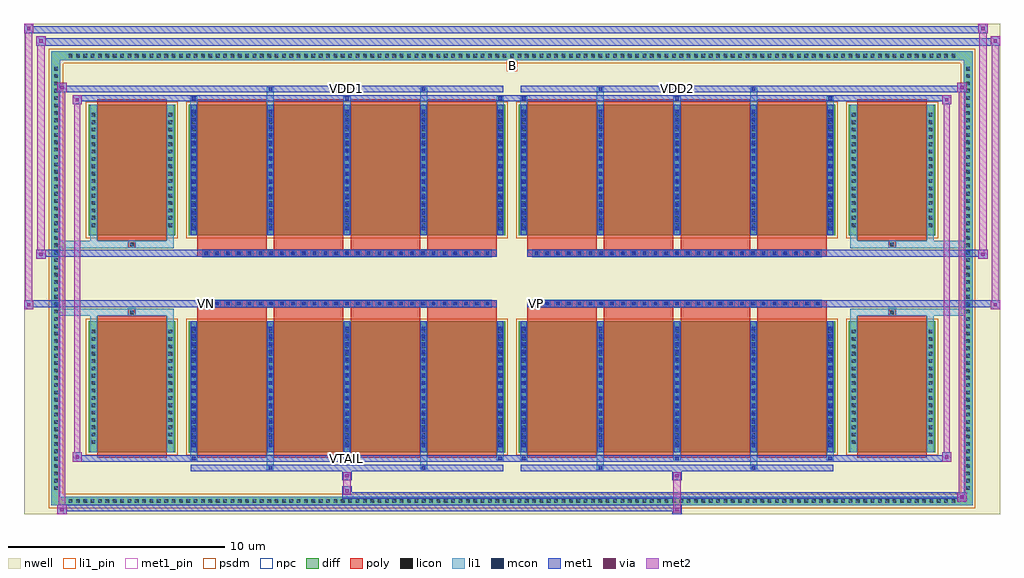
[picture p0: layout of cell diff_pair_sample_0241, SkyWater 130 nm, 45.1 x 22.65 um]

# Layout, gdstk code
import gdstk
lib = gdstk.Library(unit=1e-6, precision=5e-09)
def R(c, l, rs):  # rectangles x0, y0, x1, y1
    for r in rs: c.add(gdstk.rectangle(r[:2], r[2:], *l))
def A(c, l, x, y, w, h, nx, ny, dx, dy):  # array of equal rectangles
    R(c, l, [(x+i*dx, y+j*dy, x+i*dx+w, y+j*dy+h) for i in range(nx) for j in range(ny)])
def P(c, l, *ps):  # polygons
    for p in ps: c.add(gdstk.Polygon(p, *l))
nwell = (64, 20)
diff = (65, 20)
poly = (66, 20)
licon = (66, 44)
li1_pin = (67, 16)
li1 = (67, 20)
mcon = (67, 44)
met1_pin = (68, 16)
met1 = (68, 20)
via = (68, 44)
met2 = (69, 20)
psdm = (94, 20)
npc = (95, 20)

diff_pair_sample_0241 = lib.new_cell('diff_pair_sample_0241')
R(diff_pair_sample_0241, nwell, [(-22.55,-10.89,22.55,11.76), (-19.87,-9.08,-0.01,-0.8), (0.01,-9.08,19.87,-0.8), (-19.87,0.8,-0.01,9.08), (0.01,0.8,19.87,9.08)])
A(diff_pair_sample_0241, diff, -20.605, -10.49, 0.41, 0.41, 121, 2, 0.34, 20.57)
A(diff_pair_sample_0241, diff, -21.28, -9.895, 0.41, 0.41, 1, 58, 0, 0.34)
A(diff_pair_sample_0241, diff, 20.87, -9.895, 0.41, 0.41, 1, 58, 0, 0.34)
R(diff_pair_sample_0241, diff, [(-20.605,-10.49,20.605,-10.08), (-21.28,-9.895,-20.87,9.895), (20.87,-9.895,21.28,9.895), (-19.56,-8.035,-15.57,-1.985), (-14.93,-8.035,-0.32,-1.985), (0.32,-8.035,14.93,-1.985), (15.57,-8.035,19.56,-1.985), (-19.56,1.985,-15.57,8.035), (-14.93,1.985,-0.32,8.035), (0.32,1.985,14.93,8.035), (15.57,1.985,19.56,8.035), (-20.605,10.08,20.605,10.49)])
P(diff_pair_sample_0241, diff, [(21.28,10.49),(-21.28,10.49),(-21.28,-10.08),(-20.87,-10.08),(-20.87,10.08),(20.87,10.08),(20.87,-10.08),(-20.87,-10.08),(-21.28,-10.08),(-21.28,-10.49),(21.28,-10.49)])
A(diff_pair_sample_0241, poly, -14.54, -8.285, 3.21, 6.55, 4, 2, 3.54, 10.02)
A(diff_pair_sample_0241, poly, 0.71, -8.285, 3.21, 6.55, 4, 2, 3.54, 10.02)
A(diff_pair_sample_0241, poly, -14.54, -1.735, 3.21, 0.405, 4, 2, 3.54, 3.065)
A(diff_pair_sample_0241, poly, 0.71, -1.735, 3.21, 0.405, 4, 2, 3.54, 3.065)
A(diff_pair_sample_0241, poly, -14.29, -1.33, 0.33, 0.33, 27, 2, 0.5, 2.33)
A(diff_pair_sample_0241, poly, 0.96, -1.33, 0.33, 0.33, 27, 2, 0.5, 2.33)
R(diff_pair_sample_0241, poly, [(-19.17,-8.285,-15.96,-1.735), (15.96,-8.285,19.17,-1.735), (-17.73,-1.735,-17.4,-1.405), (-17.73,-1.735,-17.4,-1.405), (17.4,-1.735,17.73,-1.405), (17.4,-1.735,17.73,-1.405), (-14.54,-1.33,-0.71,-1), (0.71,-1.33,14.54,-1), (-14.54,1,-0.71,1.33), (0.71,1,14.54,1.33), (-17.73,1.405,-17.4,1.735), (-17.73,1.405,-17.4,1.735), (17.4,1.405,17.73,1.735), (17.4,1.405,17.73,1.735), (-19.17,1.735,-15.96,8.285), (15.96,1.735,19.17,8.285)])
A(diff_pair_sample_0241, licon, -20.485, -10.37, 0.17, 0.17, 121, 2, 0.34, 20.57)
A(diff_pair_sample_0241, licon, -21.16, -9.775, 0.17, 0.17, 1, 58, 0, 0.34)
A(diff_pair_sample_0241, licon, 20.99, -9.775, 0.17, 0.17, 1, 58, 0, 0.34)
A(diff_pair_sample_0241, licon, -19.42, -7.645, 0.17, 0.17, 1, 16, 0, 0.34)
A(diff_pair_sample_0241, licon, -15.88, -7.645, 0.17, 0.17, 1, 16, 0, 0.34)
A(diff_pair_sample_0241, licon, -14.79, -7.645, 0.17, 0.17, 5, 16, 3.54, 0.34)
A(diff_pair_sample_0241, licon, 0.46, -7.645, 0.17, 0.17, 5, 16, 3.54, 0.34)
A(diff_pair_sample_0241, licon, 15.71, -7.645, 0.17, 0.17, 1, 16, 0, 0.34)
A(diff_pair_sample_0241, licon, 19.25, -7.645, 0.17, 0.17, 1, 16, 0, 0.34)
A(diff_pair_sample_0241, licon, -14.21, -1.25, 0.17, 0.17, 27, 2, 0.5, 2.33)
A(diff_pair_sample_0241, licon, 1.04, -1.25, 0.17, 0.17, 27, 2, 0.5, 2.33)
A(diff_pair_sample_0241, licon, -19.42, 2.375, 0.17, 0.17, 1, 16, 0, 0.34)
A(diff_pair_sample_0241, licon, -15.88, 2.375, 0.17, 0.17, 1, 16, 0, 0.34)
A(diff_pair_sample_0241, licon, -14.79, 2.375, 0.17, 0.17, 5, 16, 3.54, 0.34)
A(diff_pair_sample_0241, licon, 0.46, 2.375, 0.17, 0.17, 5, 16, 3.54, 0.34)
A(diff_pair_sample_0241, licon, 15.71, 2.375, 0.17, 0.17, 1, 16, 0, 0.34)
A(diff_pair_sample_0241, licon, 19.25, 2.375, 0.17, 0.17, 1, 16, 0, 0.34)
R(diff_pair_sample_0241, licon, [(-17.65,-1.655,-17.48,-1.485), (17.48,-1.655,17.65,-1.485), (-17.65,1.485,-17.48,1.655), (17.48,1.485,17.65,1.655)])
R(diff_pair_sample_0241, li1_pin, [(-0.25,9.58,0.25,10.08)])
A(diff_pair_sample_0241, li1, -20.565, -10.45, 0.33, 0.33, 121, 2, 0.34, 20.57)
A(diff_pair_sample_0241, li1, -21.24, -9.855, 0.33, 0.33, 1, 58, 0, 0.34)
A(diff_pair_sample_0241, li1, 20.91, -9.855, 0.33, 0.33, 1, 58, 0, 0.34)
A(diff_pair_sample_0241, li1, -14.87, -8.41, 0.33, 0.375, 3, 2, 7.08, 16.445)
A(diff_pair_sample_0241, li1, -14.79, -8.41, 0.17, 0.17, 3, 2, 7.08, 16.65)
A(diff_pair_sample_0241, li1, 0.38, -8.41, 0.33, 0.375, 3, 2, 7.08, 16.445)
A(diff_pair_sample_0241, li1, 0.46, -8.41, 0.17, 0.17, 3, 2, 7.08, 16.65)
A(diff_pair_sample_0241, li1, -14.87, -8.035, 0.33, 6.05, 5, 2, 3.54, 10.02)
A(diff_pair_sample_0241, li1, 0.38, -8.035, 0.33, 6.05, 5, 2, 3.54, 10.02)
A(diff_pair_sample_0241, li1, -14.79, -7.795, 0.17, 0.17, 5, 16, 3.54, 0.36)
A(diff_pair_sample_0241, li1, -14.79, -7.795, 0.17, 5.57, 5, 2, 3.54, 10.02)
A(diff_pair_sample_0241, li1, 0.46, -7.795, 0.17, 0.17, 5, 16, 3.54, 0.36)
A(diff_pair_sample_0241, li1, 0.46, -7.795, 0.17, 5.57, 5, 2, 3.54, 10.02)
A(diff_pair_sample_0241, li1, -19.5, -7.725, 0.33, 0.33, 1, 16, 0, 0.34)
A(diff_pair_sample_0241, li1, -15.96, -7.725, 0.33, 0.33, 1, 16, 0, 0.34)
A(diff_pair_sample_0241, li1, -14.87, -7.725, 0.33, 0.33, 5, 16, 3.54, 0.34)
A(diff_pair_sample_0241, li1, 0.38, -7.725, 0.33, 0.33, 5, 16, 3.54, 0.34)
A(diff_pair_sample_0241, li1, 15.63, -7.725, 0.33, 0.33, 1, 16, 0, 0.34)
A(diff_pair_sample_0241, li1, 19.17, -7.725, 0.33, 0.33, 1, 16, 0, 0.34)
A(diff_pair_sample_0241, li1, -14.29, -1.33, 0.33, 0.33, 27, 2, 0.5, 2.33)
A(diff_pair_sample_0241, li1, 0.96, -1.33, 0.33, 0.33, 27, 2, 0.5, 2.33)
A(diff_pair_sample_0241, li1, -14.79, 2.225, 0.17, 0.17, 5, 16, 3.54, 0.36)
A(diff_pair_sample_0241, li1, 0.46, 2.225, 0.17, 0.17, 5, 16, 3.54, 0.36)
A(diff_pair_sample_0241, li1, -19.5, 2.295, 0.33, 0.33, 1, 16, 0, 0.34)
A(diff_pair_sample_0241, li1, -15.96, 2.295, 0.33, 0.33, 1, 16, 0, 0.34)
A(diff_pair_sample_0241, li1, -14.87, 2.295, 0.33, 0.33, 5, 16, 3.54, 0.34)
A(diff_pair_sample_0241, li1, 0.38, 2.295, 0.33, 0.33, 5, 16, 3.54, 0.34)
A(diff_pair_sample_0241, li1, 15.63, 2.295, 0.33, 0.33, 1, 16, 0, 0.34)
A(diff_pair_sample_0241, li1, 19.17, 2.295, 0.33, 0.33, 1, 16, 0, 0.34)
R(diff_pair_sample_0241, li1, [(-21.28,-10.49,-20.87,-10.08), (-21.28,-10.49,-20.87,-10.08), (-20.87,-10.49,20.87,-10.08), (20.87,-10.49,21.28,-10.08), (20.87,-10.49,21.28,-10.08), (-21.28,-10.08,-20.87,10.08), (20.87,-10.08,21.28,10.08), (-11.33,-8.84,-11,-8.035), (-11.25,-8.84,-11.08,-8.67), (-4.25,-8.84,-3.92,-8.035), (-4.17,-8.84,-4,-8.67), (3.92,-8.84,4.25,-8.035), (4,-8.84,4.17,-8.67), (11,-8.84,11.33,-8.035), (11.08,-8.84,11.25,-8.67), (-19.5,-8.035,-19.17,-1.985), (-15.96,-8.035,-15.63,-1.985), (15.63,-8.035,15.96,-1.985), (19.17,-8.035,19.5,-1.985), (-19.5,-1.985,-19.17,-1.405), (-15.96,-1.985,-15.63,-1.405), (15.63,-1.985,15.96,-1.405), (19.17,-1.985,19.5,-1.405), (-21.28,-1.735,-17.73,-1.405), (-19.5,-1.735,-17.73,-1.405), (-17.73,-1.735,-17.4,-1.405), (-17.4,-1.735,-15.63,-1.405), (15.63,-1.735,17.4,-1.405), (17.4,-1.735,17.73,-1.405), (17.4,-1.735,21.28,-1.405), (17.73,-1.735,19.5,-1.405), (-21.28,1.405,-17.73,1.735), (-19.5,1.405,-17.73,1.735), (-19.5,1.405,-19.17,1.985), (-17.73,1.405,-17.4,1.735), (-17.4,1.405,-15.63,1.735), (-15.96,1.405,-15.63,1.985), (15.63,1.405,17.4,1.735), (15.63,1.405,15.96,1.985), (17.4,1.405,17.73,1.735), (17.4,1.405,21.28,1.735), (17.73,1.405,19.5,1.735), (19.17,1.405,19.5,1.985), (-19.5,1.985,-19.17,8.035), (-15.96,1.985,-15.63,8.035), (15.63,1.985,15.96,8.035), (19.17,1.985,19.5,8.035), (-11.33,8.035,-11,8.84), (-4.25,8.035,-3.92,8.84), (3.92,8.035,4.25,8.84), (11,8.035,11.33,8.84), (-11.25,8.67,-11.08,8.84), (-4.17,8.67,-4,8.84), (4,8.67,4.17,8.84), (11.08,8.67,11.25,8.84), (-21.28,10.08,-20.87,10.49), (-21.28,10.08,-20.87,10.49), (-20.87,10.08,20.87,10.49), (20.87,10.08,21.28,10.49), (20.87,10.08,21.28,10.49)])
A(diff_pair_sample_0241, mcon, -14.79, -8.41, 0.17, 0.17, 3, 2, 7.08, 16.65)
A(diff_pair_sample_0241, mcon, 0.46, -8.41, 0.17, 0.17, 3, 2, 7.08, 16.65)
A(diff_pair_sample_0241, mcon, -14.79, -7.795, 0.17, 0.17, 5, 16, 3.54, 0.36)
A(diff_pair_sample_0241, mcon, 0.46, -7.795, 0.17, 0.17, 5, 16, 3.54, 0.36)
A(diff_pair_sample_0241, mcon, -14.21, -1.25, 0.17, 0.17, 27, 2, 0.5, 2.33)
A(diff_pair_sample_0241, mcon, 1.04, -1.25, 0.17, 0.17, 27, 2, 0.5, 2.33)
A(diff_pair_sample_0241, mcon, -14.79, 2.225, 0.17, 0.17, 5, 16, 3.54, 0.36)
A(diff_pair_sample_0241, mcon, 0.46, 2.225, 0.17, 0.17, 5, 16, 3.54, 0.36)
R(diff_pair_sample_0241, mcon, [(-11.25,-8.84,-11.08,-8.67), (-4.17,-8.84,-4,-8.67), (4,-8.84,4.17,-8.67), (11.08,-8.84,11.25,-8.67), (-11.25,8.67,-11.08,8.84), (-4.17,8.67,-4,8.84), (4,8.67,4.17,8.84), (11.08,8.67,11.25,8.84)])
R(diff_pair_sample_0241, met1_pin, [(-7.76,-8.45,-7.49,-8.18), (-14.26,-1.29,-13.99,-1.02), (0.99,-1.29,1.26,-1.02), (-7.76,8.63,-7.49,8.9), (7.49,8.63,7.76,8.9)])
A(diff_pair_sample_0241, met1, -14.85, -8.47, 0.29, 0.29, 3, 2, 7.08, 16.65)
A(diff_pair_sample_0241, met1, 0.4, -8.47, 0.29, 0.29, 3, 2, 7.08, 16.65)
A(diff_pair_sample_0241, met1, -14.85, -8.035, 0.29, 6.05, 5, 2, 3.54, 10.02)
A(diff_pair_sample_0241, met1, 0.4, -8.035, 0.29, 6.05, 5, 2, 3.54, 10.02)
A(diff_pair_sample_0241, met1, -14.85, -7.855, 0.29, 0.29, 5, 16, 3.54, 0.36)
A(diff_pair_sample_0241, met1, 0.4, -7.855, 0.29, 0.29, 5, 16, 3.54, 0.36)
A(diff_pair_sample_0241, met1, -14.27, -1.31, 0.29, 0.29, 27, 2, 0.5, 2.33)
A(diff_pair_sample_0241, met1, 0.98, -1.31, 0.29, 0.29, 27, 2, 0.5, 2.33)
A(diff_pair_sample_0241, met1, -14.85, 2.165, 0.29, 0.29, 5, 16, 3.54, 0.36)
A(diff_pair_sample_0241, met1, 0.4, 2.165, 0.29, 0.29, 5, 16, 3.54, 0.36)
R(diff_pair_sample_0241, met1, [(-21.01,-10.89,-20.58,-10.46), (7.41,-10.89,7.84,-10.46), (-21.01,-10.75,7.84,-10.46), (20.58,-10.32,21.01,-9.89), (-7.84,-10.18,21.01,-9.89), (-7.84,-10.04,-7.41,-9.61), (-7.84,-9.33,-7.41,-8.9), (7.41,-9.33,7.84,-8.9), (-14.85,-8.9,-0.4,-8.61), (-11.31,-8.9,-11.02,-8.61), (-4.23,-8.9,-3.94,-8.61), (0.4,-8.9,14.85,-8.61), (3.94,-8.9,4.23,-8.61), (11.02,-8.9,11.31,-8.61), (-20.3,-8.47,-19.87,-8.04), (-20.3,-8.47,-14.85,-8.18), (-14.85,-8.47,-0.4,-8.18), (-0.4,-8.47,0.4,-8.18), (0.4,-8.47,14.85,-8.18), (14.85,-8.47,20.3,-8.18), (19.87,-8.47,20.3,-8.04), (-22.55,-1.43,-22.12,-1), (22.12,-1.43,22.55,-1), (-22.55,-1.33,-0.71,-1), (-14.54,-1.33,-0.71,-1), (0.71,-1.33,14.54,-1), (0.71,-1.33,22.55,-1), (-21.98,0.9,-21.55,1.33), (21.55,0.9,21.98,1.33), (-21.98,1,-14.54,1.33), (-14.54,1,-0.71,1.33), (0.71,1,14.54,1.33), (14.54,1,21.98,1.33), (-20.3,8.04,-19.87,8.47), (19.87,8.04,20.3,8.47), (-20.3,8.18,-14.85,8.47), (-14.85,8.18,-0.4,8.47), (-0.4,8.18,0.4,8.47), (0.4,8.18,14.85,8.47), (14.85,8.18,20.3,8.47), (-21.01,8.61,-20.58,9.04), (-21.01,8.61,-14.85,8.9), (-14.85,8.61,-0.4,8.9), (-11.31,8.61,-11.02,8.9), (-4.23,8.61,-3.94,8.9), (0.4,8.61,14.85,8.9), (3.94,8.61,4.23,8.9), (11.02,8.61,11.31,8.9), (14.85,8.61,21.01,8.9), (20.58,8.61,21.01,9.04), (-21.98,10.76,-21.55,11.19), (-21.98,10.76,-19.87,11.09), (-19.87,10.76,19.87,11.09), (19.87,10.76,22.55,11.09), (22.12,10.76,22.55,11.19), (-22.55,11.33,-22.12,11.76), (-22.55,11.33,-19.87,11.66), (-19.87,11.33,19.87,11.66), (19.87,11.33,21.98,11.66), (21.55,11.33,21.98,11.76)])
R(diff_pair_sample_0241, via, [(-20.87,-10.75,-20.72,-10.6), (7.55,-10.75,7.7,-10.6), (20.72,-10.18,20.87,-10.03), (-7.7,-9.9,-7.55,-9.75), (-7.7,-9.19,-7.55,-9.04), (7.55,-9.19,7.7,-9.04), (-20.16,-8.33,-20.01,-8.18), (20.01,-8.33,20.16,-8.18), (-22.41,-1.29,-22.26,-1.14), (22.26,-1.29,22.41,-1.14), (-21.84,1.04,-21.69,1.19), (21.69,1.04,21.84,1.19), (-20.16,8.18,-20.01,8.33), (20.01,8.18,20.16,8.33), (-20.87,8.75,-20.72,8.9), (20.72,8.75,20.87,8.9), (-21.84,10.9,-21.69,11.05), (22.26,10.9,22.41,11.05), (-22.41,11.47,-22.26,11.62), (21.69,11.47,21.84,11.62)])
R(diff_pair_sample_0241, met2, [(-21.01,-10.89,-20.58,-10.46), (-20.94,-10.89,-20.65,9.04), (-20.65,-10.89,-20.58,-10.46), (-20.96,-10.84,-20.63,-10.51), (7.46,-10.84,7.79,-10.51), (7.46,-10.51,7.79,-9.28), (20.58,-10.32,21.01,-9.89), (20.65,-10.32,20.94,9.04), (20.94,-10.32,21.01,-9.89), (20.63,-10.27,20.96,-9.94), (-7.79,-9.99,-7.46,-9.66), (-7.79,-9.66,-7.46,-9.28), (-7.79,-9.28,-7.46,-8.95), (7.46,-9.28,7.79,-8.95), (-20.3,-8.47,-19.87,-8.04), (-20.23,-8.47,-19.94,8.47), (-19.94,-8.47,-19.87,-8.04), (19.87,-8.47,20.3,-8.04), (19.94,-8.47,20.23,8.47), (20.23,-8.47,20.3,-8.04), (-20.25,-8.42,-19.92,-8.09), (19.92,-8.42,20.25,-8.09), (-22.55,-1.43,-22.12,-1), (-22.5,-1.43,-22.17,11.76), (-22.17,-1.43,-22.12,-1), (22.12,-1.43,22.55,-1), (22.17,-1.43,22.5,11.19), (22.5,-1.43,22.55,-1), (-22.5,-1.38,-22.17,-1.05), (22.17,-1.38,22.5,-1.05), (-21.98,0.9,-21.55,1.33), (-21.93,0.9,-21.6,11.19), (-21.6,0.9,-21.55,1.33), (21.55,0.9,21.98,1.33), (21.6,0.9,21.93,11.76), (21.93,0.9,21.98,1.33), (-21.93,0.95,-21.6,1.28), (21.6,0.95,21.93,1.28), (-20.3,8.04,-19.87,8.47), (-19.94,8.04,-19.87,8.47), (19.87,8.04,20.3,8.47), (20.23,8.04,20.3,8.47), (-20.25,8.09,-19.92,8.42), (19.92,8.09,20.25,8.42), (-21.01,8.61,-20.58,9.04), (-20.65,8.61,-20.58,9.04), (20.58,8.61,21.01,9.04), (20.94,8.61,21.01,9.04), (-20.96,8.66,-20.63,8.99), (20.63,8.66,20.96,8.99), (-21.98,10.76,-21.55,11.19), (-21.6,10.76,-21.55,11.19), (22.12,10.76,22.55,11.19), (22.5,10.76,22.55,11.19), (-21.93,10.81,-21.6,11.14), (22.17,10.81,22.5,11.14), (-22.55,11.33,-22.12,11.76), (-22.17,11.33,-22.12,11.76), (21.55,11.33,21.98,11.76), (21.93,11.33,21.98,11.76), (-22.5,11.38,-22.17,11.71), (21.6,11.38,21.93,11.71)])
R(diff_pair_sample_0241, psdm, [(-19.69,-8.165,-15.44,-1.855), (-15.06,-8.165,-0.19,-1.855), (0.19,-8.165,15.06,-1.855), (15.44,-8.165,19.69,-1.855), (-19.69,1.855,-15.44,8.165), (-15.06,1.855,-0.19,8.165), (0.19,1.855,15.06,8.165), (15.44,1.855,19.69,8.165)])
P(diff_pair_sample_0241, psdm, [(21.41,10.62),(-21.41,10.62),(-21.41,-9.95),(-20.74,-9.95),(-20.74,9.95),(20.74,9.95),(20.74,-9.95),(-20.74,-9.95),(-21.41,-9.95),(-21.41,-10.62),(21.41,-10.62)])
A(diff_pair_sample_0241, npc, -14.31, -1.35, 0.37, 0.37, 27, 2, 0.5, 2.33)
A(diff_pair_sample_0241, npc, 0.94, -1.35, 0.37, 0.37, 27, 2, 0.5, 2.33)
R(diff_pair_sample_0241, npc, [(-17.75,-1.755,-17.38,-1.385), (17.38,-1.755,17.75,-1.385), (-14.31,-1.35,-13.44,-0.98), (-14.31,-1.35,-13.44,-0.98), (-13.81,-1.35,-12.94,-0.98), (-13.81,-1.35,-12.94,-0.98), (-13.31,-1.35,-12.44,-0.98), (-13.31,-1.35,-12.44,-0.98), (-12.81,-1.35,-11.94,-0.98), (-12.81,-1.35,-11.94,-0.98), (-12.31,-1.35,-11.44,-0.98), (-12.31,-1.35,-11.44,-0.98), (-11.81,-1.35,-10.94,-0.98), (-11.81,-1.35,-10.94,-0.98), (-11.31,-1.35,-10.44,-0.98), (-11.31,-1.35,-10.44,-0.98), (-10.81,-1.35,-9.94,-0.98), (-10.81,-1.35,-9.94,-0.98), (-10.31,-1.35,-9.44,-0.98), (-10.31,-1.35,-9.44,-0.98), (-9.81,-1.35,-8.94,-0.98), (-9.81,-1.35,-8.94,-0.98), (-9.31,-1.35,-8.44,-0.98), (-9.31,-1.35,-8.44,-0.98), (-8.81,-1.35,-7.94,-0.98), (-8.81,-1.35,-7.94,-0.98), (-8.31,-1.35,-7.44,-0.98), (-8.31,-1.35,-7.44,-0.98), (-7.81,-1.35,-6.94,-0.98), (-7.81,-1.35,-6.94,-0.98), (-7.31,-1.35,-6.44,-0.98), (-7.31,-1.35,-6.44,-0.98), (-6.81,-1.35,-5.94,-0.98), (-6.81,-1.35,-5.94,-0.98), (-6.31,-1.35,-5.44,-0.98), (-6.31,-1.35,-5.44,-0.98), (-5.81,-1.35,-4.94,-0.98), (-5.81,-1.35,-4.94,-0.98), (-5.31,-1.35,-4.44,-0.98), (-5.31,-1.35,-4.44,-0.98), (-4.81,-1.35,-3.94,-0.98), (-4.81,-1.35,-3.94,-0.98), (-4.31,-1.35,-3.44,-0.98), (-4.31,-1.35,-3.44,-0.98), (-3.81,-1.35,-2.94,-0.98), (-3.81,-1.35,-2.94,-0.98), (-3.31,-1.35,-2.44,-0.98), (-3.31,-1.35,-2.44,-0.98), (-2.81,-1.35,-1.94,-0.98), (-2.81,-1.35,-1.94,-0.98), (-2.31,-1.35,-1.44,-0.98), (-2.31,-1.35,-1.44,-0.98), (-1.81,-1.35,-0.94,-0.98), (-1.81,-1.35,-0.94,-0.98), (0.94,-1.35,1.81,-0.98), (0.94,-1.35,1.81,-0.98), (1.44,-1.35,2.31,-0.98), (1.44,-1.35,2.31,-0.98), (1.94,-1.35,2.81,-0.98), (1.94,-1.35,2.81,-0.98), (2.44,-1.35,3.31,-0.98), (2.44,-1.35,3.31,-0.98), (2.94,-1.35,3.81,-0.98), (2.94,-1.35,3.81,-0.98), (3.44,-1.35,4.31,-0.98), (3.44,-1.35,4.31,-0.98), (3.94,-1.35,4.81,-0.98), (3.94,-1.35,4.81,-0.98), (4.44,-1.35,5.31,-0.98), (4.44,-1.35,5.31,-0.98), (4.94,-1.35,5.81,-0.98), (4.94,-1.35,5.81,-0.98), (5.44,-1.35,6.31,-0.98), (5.44,-1.35,6.31,-0.98), (5.94,-1.35,6.81,-0.98), (5.94,-1.35,6.81,-0.98), (6.44,-1.35,7.31,-0.98), (6.44,-1.35,7.31,-0.98), (6.94,-1.35,7.81,-0.98), (6.94,-1.35,7.81,-0.98), (7.44,-1.35,8.31,-0.98), (7.44,-1.35,8.31,-0.98), (7.94,-1.35,8.81,-0.98), (7.94,-1.35,8.81,-0.98), (8.44,-1.35,9.31,-0.98), (8.44,-1.35,9.31,-0.98), (8.94,-1.35,9.81,-0.98), (8.94,-1.35,9.81,-0.98), (9.44,-1.35,10.31,-0.98), (9.44,-1.35,10.31,-0.98), (9.94,-1.35,10.81,-0.98), (9.94,-1.35,10.81,-0.98), (10.44,-1.35,11.31,-0.98), (10.44,-1.35,11.31,-0.98), (10.94,-1.35,11.81,-0.98), (10.94,-1.35,11.81,-0.98), (11.44,-1.35,12.31,-0.98), (11.44,-1.35,12.31,-0.98), (11.94,-1.35,12.81,-0.98), (11.94,-1.35,12.81,-0.98), (12.44,-1.35,13.31,-0.98), (12.44,-1.35,13.31,-0.98), (12.94,-1.35,13.81,-0.98), (12.94,-1.35,13.81,-0.98), (13.44,-1.35,14.31,-0.98), (13.44,-1.35,14.31,-0.98), (-14.31,0.98,-13.44,1.35), (-14.31,0.98,-13.44,1.35), (-13.81,0.98,-12.94,1.35), (-13.81,0.98,-12.94,1.35), (-13.31,0.98,-12.44,1.35), (-13.31,0.98,-12.44,1.35), (-12.81,0.98,-11.94,1.35), (-12.81,0.98,-11.94,1.35), (-12.31,0.98,-11.44,1.35), (-12.31,0.98,-11.44,1.35), (-11.81,0.98,-10.94,1.35), (-11.81,0.98,-10.94,1.35), (-11.31,0.98,-10.44,1.35), (-11.31,0.98,-10.44,1.35), (-10.81,0.98,-9.94,1.35), (-10.81,0.98,-9.94,1.35), (-10.31,0.98,-9.44,1.35), (-10.31,0.98,-9.44,1.35), (-9.81,0.98,-8.94,1.35), (-9.81,0.98,-8.94,1.35), (-9.31,0.98,-8.44,1.35), (-9.31,0.98,-8.44,1.35), (-8.81,0.98,-7.94,1.35), (-8.81,0.98,-7.94,1.35), (-8.31,0.98,-7.44,1.35), (-8.31,0.98,-7.44,1.35), (-7.81,0.98,-6.94,1.35), (-7.81,0.98,-6.94,1.35), (-7.31,0.98,-6.44,1.35), (-7.31,0.98,-6.44,1.35), (-6.81,0.98,-5.94,1.35), (-6.81,0.98,-5.94,1.35), (-6.31,0.98,-5.44,1.35), (-6.31,0.98,-5.44,1.35), (-5.81,0.98,-4.94,1.35), (-5.81,0.98,-4.94,1.35), (-5.31,0.98,-4.44,1.35), (-5.31,0.98,-4.44,1.35), (-4.81,0.98,-3.94,1.35), (-4.81,0.98,-3.94,1.35), (-4.31,0.98,-3.44,1.35), (-4.31,0.98,-3.44,1.35), (-3.81,0.98,-2.94,1.35), (-3.81,0.98,-2.94,1.35), (-3.31,0.98,-2.44,1.35), (-3.31,0.98,-2.44,1.35), (-2.81,0.98,-1.94,1.35), (-2.81,0.98,-1.94,1.35), (-2.31,0.98,-1.44,1.35), (-2.31,0.98,-1.44,1.35), (-1.81,0.98,-0.94,1.35), (-1.81,0.98,-0.94,1.35), (0.94,0.98,1.81,1.35), (0.94,0.98,1.81,1.35), (1.44,0.98,2.31,1.35), (1.44,0.98,2.31,1.35), (1.94,0.98,2.81,1.35), (1.94,0.98,2.81,1.35), (2.44,0.98,3.31,1.35), (2.44,0.98,3.31,1.35), (2.94,0.98,3.81,1.35), (2.94,0.98,3.81,1.35), (3.44,0.98,4.31,1.35), (3.44,0.98,4.31,1.35), (3.94,0.98,4.81,1.35), (3.94,0.98,4.81,1.35), (4.44,0.98,5.31,1.35), (4.44,0.98,5.31,1.35), (4.94,0.98,5.81,1.35), (4.94,0.98,5.81,1.35), (5.44,0.98,6.31,1.35), (5.44,0.98,6.31,1.35), (5.94,0.98,6.81,1.35), (5.94,0.98,6.81,1.35), (6.44,0.98,7.31,1.35), (6.44,0.98,7.31,1.35), (6.94,0.98,7.81,1.35), (6.94,0.98,7.81,1.35), (7.44,0.98,8.31,1.35), (7.44,0.98,8.31,1.35), (7.94,0.98,8.81,1.35), (7.94,0.98,8.81,1.35), (8.44,0.98,9.31,1.35), (8.44,0.98,9.31,1.35), (8.94,0.98,9.81,1.35), (8.94,0.98,9.81,1.35), (9.44,0.98,10.31,1.35), (9.44,0.98,10.31,1.35), (9.94,0.98,10.81,1.35), (9.94,0.98,10.81,1.35), (10.44,0.98,11.31,1.35), (10.44,0.98,11.31,1.35), (10.94,0.98,11.81,1.35), (10.94,0.98,11.81,1.35), (11.44,0.98,12.31,1.35), (11.44,0.98,12.31,1.35), (11.94,0.98,12.81,1.35), (11.94,0.98,12.81,1.35), (12.44,0.98,13.31,1.35), (12.44,0.98,13.31,1.35), (12.94,0.98,13.81,1.35), (12.94,0.98,13.81,1.35), (13.44,0.98,14.31,1.35), (13.44,0.98,14.31,1.35), (-17.75,1.385,-17.38,1.755), (17.38,1.385,17.75,1.755)])
diff_pair_sample_0241.add(gdstk.Label('VTAIL', (-7.625,-8.315), layer=68, texttype=5))
diff_pair_sample_0241.add(gdstk.Label('VN', (-14.125,-1.155), layer=68, texttype=5))
diff_pair_sample_0241.add(gdstk.Label('VP', (1.125,-1.155), layer=68, texttype=5))
diff_pair_sample_0241.add(gdstk.Label('B', (0,9.83), layer=67, texttype=5))
diff_pair_sample_0241.add(gdstk.Label('VDD2', (7.625,8.765), layer=68, texttype=5))
diff_pair_sample_0241.add(gdstk.Label('VDD1', (-7.625,8.765), layer=68, texttype=5))

lib.write_gds('diff_pair_sample_0241.gds')
